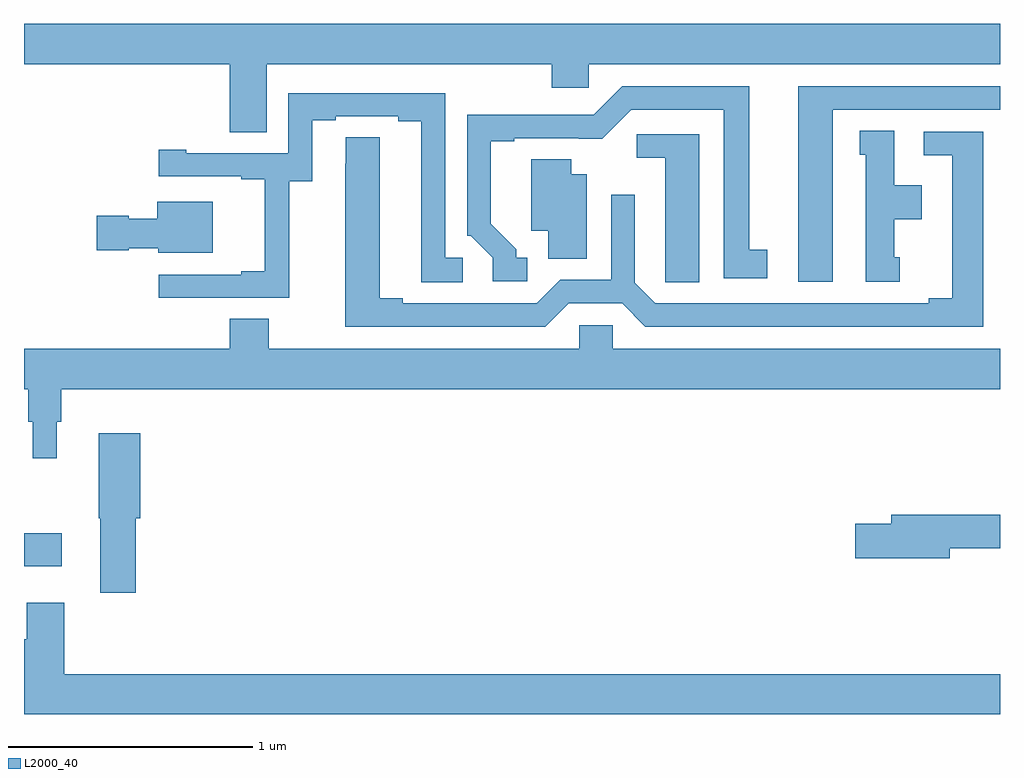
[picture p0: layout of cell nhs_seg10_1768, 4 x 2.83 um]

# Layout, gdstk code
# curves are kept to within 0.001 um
import gdstk
lib = gdstk.Library(unit=1e-6, precision=1e-09)
def R(c, l, rs):  # rectangles x0, y0, x1, y1
    for r in rs: c.add(gdstk.rectangle(r[:2], r[2:], *l))
def P(c, l, *ps):  # polygons
    for p in ps: c.add(gdstk.Polygon(p, *l))
L2000_40 = (2000, 40)

nhs_seg10_1768 = lib.new_cell('nhs_seg10_1768')
R(nhs_seg10_1768, L2000_40, [(203,1306.25,203.155,1306.385)])
P(nhs_seg10_1768, L2000_40, [(203.995,1308.308),(205.163,1308.308),(205.163,1308.21),(205.314,1308.21),(205.314,1308.308),(207,1308.308),(207,1308.472),(203,1308.472),(203,1308.308),(203.843,1308.308),(203.843,1308.028),(203.995,1308.028)],
  [(205.063,1307.514),(205.018,1307.514),(205.018,1307.549),(204.913,1307.654),(204.913,1307.991),(205.009,1307.991),(205.009,1308.003),(205.37,1308.002),(205.488,1308.12),(205.868,1308.12),(205.868,1307.43),(206.047,1307.43),(206.047,1307.546),(205.972,1307.546),(205.972,1308.216),(205.452,1308.216),(205.335,1308.099),(205.079,1308.099),(205.079,1308.101),(204.816,1308.101),(204.816,1307.604),(204.831,1307.604),(204.921,1307.514),(204.921,1307.418),(205.063,1307.418)],
  [(206.314,1308.12),(207,1308.12),(207,1308.216),(206.174,1308.216),(206.174,1307.415),(206.314,1307.415)],
  [(204.087,1307.827),(204.181,1307.827),(204.181,1308.078),(204.277,1308.078),(204.277,1308.093),(204.533,1308.093),(204.533,1308.073),(204.629,1308.073),(204.629,1307.413),(204.799,1307.413),(204.799,1307.514),(204.726,1307.514),(204.726,1308.189),(204.084,1308.189),(204.084,1307.943),(203.665,1307.943),(203.665,1307.956),(203.553,1307.956),(203.553,1307.847),(203.891,1307.847),(203.891,1307.835),(203.987,1307.835),(203.987,1307.458),(203.891,1307.458),(203.891,1307.445),(203.553,1307.445),(203.553,1307.349),(204.087,1307.349)],
  [(206.59,1307.517),(206.566,1307.517),(206.566,1307.672),(206.68,1307.672),(206.68,1307.812),(206.566,1307.812),(206.566,1308.035),(206.426,1308.035),(206.426,1307.937),(206.45,1307.937),(206.45,1307.415),(206.59,1307.415)],
  [(205.233,1307.328),(205.451,1307.328),(205.547,1307.232),(206.932,1307.232),(206.932,1308.03),(206.688,1308.03),(206.688,1307.934),(206.804,1307.934),(206.804,1307.348),(206.708,1307.348),(206.708,1307.328),(205.587,1307.328),(205.503,1307.412),(205.503,1307.773),(205.407,1307.773),(205.407,1307.424),(205.197,1307.424),(205.101,1307.328),(204.553,1307.328),(204.553,1307.348),(204.457,1307.348),(204.457,1308.008),(204.318,1308.008),(204.317,1307.232),(205.137,1307.232)],
  [(205.768,1308.021),(205.512,1308.021),(205.512,1307.924),(205.628,1307.924),(205.628,1307.521),(205.629,1307.521),(205.629,1307.413),(205.768,1307.413)],
  [(205.306,1307.857),(205.243,1307.857),(205.243,1307.918),(205.079,1307.918),(205.079,1307.624),(205.148,1307.624),(205.148,1307.509),(205.306,1307.509)],
  [(203.773,1307.743),(203.546,1307.743),(203.546,1307.674),(203.43,1307.674),(203.43,1307.687),(203.298,1307.687),(203.298,1307.545),(203.43,1307.545),(203.43,1307.552),(203.55,1307.552),(203.55,1307.534),(203.773,1307.534)],
  [(203,1306.976),(203.017,1306.976),(203.017,1306.842),(203.036,1306.842),(203.036,1306.692),(203.134,1306.692),(203.134,1306.842),(203.153,1306.842),(203.153,1306.976),(207,1306.976),(207,1307.14),(205.413,1307.14),(205.413,1307.238),(205.275,1307.238),(205.275,1307.14),(204.003,1307.14),(204.003,1307.264),(203.843,1307.264),(203.843,1307.14),(203,1307.14)],
  [(203.459,1306.446),(203.477,1306.446),(203.477,1306.795),(203.306,1306.795),(203.306,1306.446),(203.312,1306.446),(203.312,1306.14),(203.459,1306.14)],
  [(206.794,1306.324),(207,1306.324),(207,1306.46),(206.555,1306.46),(206.555,1306.424),(206.406,1306.424),(206.406,1306.282),(206.794,1306.282)],
  [(207,1305.808),(203.165,1305.808),(203.165,1306.099),(203.012,1306.099),(203.012,1305.95),(203,1305.95),(203,1305.644),(207,1305.644)])

lib.write_gds('nhs_seg10_1768.gds')
